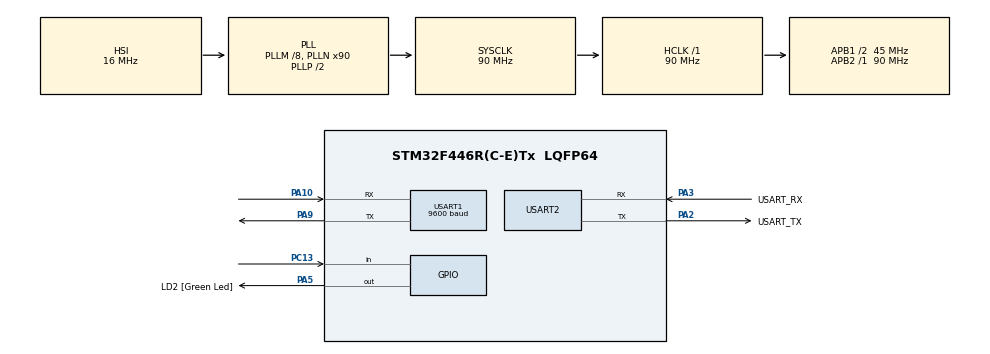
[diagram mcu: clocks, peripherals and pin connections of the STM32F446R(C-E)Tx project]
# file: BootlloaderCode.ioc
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Mcu.Family=STM32F4
Mcu.Name=STM32F446R(C-E)Tx
Mcu.Package=LQFP64
NVIC.PriorityGroup=NVIC_PRIORITYGROUP_0
NVIC.USART1_IRQn=true\:0\:0\:false\:false\:true\:true\:true
NVIC.USART2_IRQn=true\:0\:0\:false\:false\:true\:true\:true
PA10.Mode=Asynchronous
PA10.Signal=USART1_RX
PA13.GPIO_Label=TMS
PA13.Signal=SYS_JTMS-SWDIO
PA14.GPIO_Label=TCK
PA14.Signal=SYS_JTCK-SWCLK
PA2.GPIO_Label=USART_TX
PA2.Mode=Asynchronous
PA2.Signal=USART2_TX
PA3.GPIO_Label=USART_RX
PA3.Mode=Asynchronous
PA3.Signal=USART2_RX
PA5.GPIO_Label=LD2 [Green Led]
PA5.Signal=GPIO_Output
PA9.Mode=Asynchronous
PA9.Signal=USART1_TX
PB3.GPIO_Label=SWO
PB3.Signal=SYS_JTDO-SWO
PC13.Signal=GPIO_Input
PC14-OSC32_IN.Signal=RCC_OSC32_IN
PC15-OSC32_OUT.Signal=RCC_OSC32_OUT
PH0-OSC_IN.Signal=RCC_OSC_IN
PH1-OSC_OUT.Signal=RCC_OSC_OUT
ProjectManager.HeapSize=0x200
ProjectManager.StackSize=0x400
ProjectManager.TargetToolchain=STM32CubeIDE
RCC.AHBFreq_Value=90000000
RCC.APB1CLKDivider=RCC_HCLK_DIV2
RCC.APB1Freq_Value=45000000
RCC.APB1TimFreq_Value=90000000
RCC.APB2Freq_Value=90000000
RCC.APB2TimFreq_Value=90000000
RCC.CortexFreq_Value=90000000
RCC.FLatency-AdvancedSettings=FLASH_LATENCY_2
RCC.HCLKFreq_Value=90000000
RCC.HSE_VALUE=8000000
RCC.HSI_VALUE=16000000
RCC.LSE_VALUE=32768
RCC.PLLM=8
RCC.PLLN=90
RCC.SYSCLKFreq_VALUE=90000000
RCC.SYSCLKSource=RCC_SYSCLKSOURCE_PLLCLK
RCC.USBFreq_Value=90000000
RCC.VCOOutputFreq_Value=180000000
USART1.BaudRate=9600
USART1.VirtualMode=VM_ASYNC
USART2.VirtualMode=VM_ASYNC
board=NUCLEO-F446RE

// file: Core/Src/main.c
/* USER CODE BEGIN 2 */
#include "main.h"

#include <stdio.h>

#define VERSION    "V_1.0"
#define PRESSED    0
#define NOTPRESSED 1

UART_HandleTypeDef      huart1;
UART_HandleTypeDef      huart2;

#define PC_UART         huart2
#define BLUETOOTH_UART  huart1

void SystemClock_Config(void);
static void MX_GPIO_Init(void);
static void MX_USART1_UART_Init(void);
static void MX_USART2_UART_Init(void);

static void GoToAPP( void );

int main(void)
{
  //Initialization
  HAL_Init();
  SystemClock_Config();
  MX_GPIO_Init();
  MX_USART1_UART_Init();
  MX_USART2_UART_Init();

  printf("Starting BootLoader %s\r\n",VERSION);
  //Turn ON LED to indicate that you are in the BootLoader mode
  HAL_GPIO_WritePin(LD2_GPIO_Port,LD2_Pin, GPIO_PIN_SET );

  printf("Press The BootLoader Button to Trigger OTA Update...\r\n");
  GPIO_PinState OTAButtonState;
  uint32_t CurrentTick = HAL_GetTick();
  uint32_t EndTick     = HAL_GetTick() + 3000;   // from now to 3 Seconds

  /* Check the button if  pressed or not for 3seconds */
  while(CurrentTick < EndTick)
  {
	OTAButtonState=HAL_GPIO_ReadPin( GPIOC, GPIO_PIN_13 );
    if(OTAButtonState== PRESSED )
    {
      break;
    }
    CurrentTick = HAL_GetTick();
  }

  /*Start the Firmware or Application update */
  if(OTAButtonState== PRESSED )
  {
    printf("Starting Firmware Download...\r\n");
    // OTA Request. Receive the data from the UART1 and flash it
    if( OTA_ReceiveAndFlashTheCode () != OTA_ERROR_OK )
    {
      printf("OTA Update : ERROR!!! HALT!!!\r\n");
      while( 1 );
    }
    else
    {
      /* Reset to load the new application */
      printf("Firmware Update Done Rebooting...\r\n");
      HAL_NVIC_SystemReset();
    }
  }

  GoToAPP();

  while (1)
  {

  }

}

//Consider it as an implementation for printf() to use UART
int __io_putchar(int ch)
{
  /* e.g. write a character to the PC_UART and Loop until the end of transmission */
  HAL_UART_Transmit(&PC_UART, (uint8_t *)&ch, 1, HAL_MAX_DELAY);
  return ch;
}

void SystemClock_Config(void)
{
  RCC_OscInitTypeDef RCC_OscInitStruct = {0};
  RCC_ClkInitTypeDef RCC_ClkInitStruct = {0};

  /** Configure the main internal regulator output voltage
  */
  __HAL_RCC_PWR_CLK_ENABLE();
  __HAL_PWR_VOLTAGESCALING_CONFIG(PWR_REGULATOR_VOLTAGE_SCALE3);
  /** Initializes the RCC Oscillators according to the specified parameters
  * in the RCC_OscInitTypeDef structure.
  */
  RCC_OscInitStruct.OscillatorType = RCC_OSCILLATORTYPE_HSI;
  RCC_OscInitStruct.HSIState = RCC_HSI_ON;
  RCC_OscInitStruct.HSICalibrationValue = RCC_HSICALIBRATION_DEFAULT;
  RCC_OscInitStruct.PLL.PLLState = RCC_PLL_ON;
  RCC_OscInitStruct.PLL.PLLSource = RCC_PLLSOURCE_HSI;
  RCC_OscInitStruct.PLL.PLLM = 8;
  RCC_OscInitStruct.PLL.PLLN = 90;
  RCC_OscInitStruct.PLL.PLLP = RCC_PLLP_DIV2;
  RCC_OscInitStruct.PLL.PLLQ = 2;
  RCC_OscInitStruct.PLL.PLLR = 2;
  if (HAL_RCC_OscConfig(&RCC_OscInitStruct) != HAL_OK)
  {
    Error_Handler();
  }
  /** Initializes the CPU, AHB and APB buses clocks
  */
  RCC_ClkInitStruct.ClockType = RCC_CLOCKTYPE_HCLK|RCC_CLOCKTYPE_SYSCLK
                              |RCC_CLOCKTYPE_PCLK1|RCC_CLOCKTYPE_PCLK2;
  RCC_ClkInitStruct.SYSCLKSource = RCC_SYSCLKSOURCE_PLLCLK;
  RCC_ClkInitStruct.AHBCLKDivider = RCC_SYSCLK_DIV1;
  RCC_ClkInitStruct.APB1CLKDivider = RCC_HCLK_DIV2;
  RCC_ClkInitStruct.APB2CLKDivider = RCC_HCLK_DIV1;

  if (HAL_RCC_ClockConfig(&RCC_ClkInitStruct, FLASH_LATENCY_2) != HAL_OK)
  {
    Error_Handler();
  }
}

static void MX_USART1_UART_Init(void)
{

  huart1.Instance = USART1;
  huart1.Init.BaudRate = 9600;
  huart1.Init.WordLength = UART_WORDLENGTH_8B;
  huart1.Init.StopBits = UART_STOPBITS_1;
  huart1.Init.Parity = UART_PARITY_NONE;
  huart1.Init.Mode = UART_MODE_TX_RX;
  huart1.Init.HwFlowCtl = UART_HWCONTROL_NONE;
  huart1.Init.OverSampling = UART_OVERSAMPLING_16;
  if (HAL_UART_Init(&huart1) != HAL_OK)
  {
    Error_Handler();
  }
}

static void MX_USART2_UART_Init(void)
{

  huart2.Instance = USART2;
  huart2.Init.BaudRate = 115200;
  huart2.Init.WordLength = UART_WORDLENGTH_8B;
  huart2.Init.StopBits = UART_STOPBITS_1;
  huart2.Init.Parity = UART_PARITY_NONE;
  huart2.Init.Mode = UART_MODE_TX_RX;
  huart2.Init.HwFlowCtl = UART_HWCONTROL_NONE;
  huart2.Init.OverSampling = UART_OVERSAMPLING_16;
  if (HAL_UART_Init(&huart2) != HAL_OK)
  {
    Error_Handler();
  }

}

static void MX_GPIO_Init(void)
{
  GPIO_InitTypeDef GPIO_InitStruct = {0};

  /* GPIO Ports Clock Enable */
  __HAL_RCC_GPIOC_CLK_ENABLE();
  __HAL_RCC_GPIOH_CLK_ENABLE();
  __HAL_RCC_GPIOA_CLK_ENABLE();
  __HAL_RCC_GPIOB_CLK_ENABLE();

  /*Configure GPIO pin Output Level */
  HAL_GPIO_WritePin(LD2_GPIO_Port, LD2_Pin, GPIO_PIN_RESET);

  /*Configure GPIO pin : PC13 */
  GPIO_InitStruct.Pin = GPIO_PIN_13;
  GPIO_InitStruct.Mode = GPIO_MODE_INPUT;
  GPIO_InitStruct.Pull = GPIO_NOPULL;
  HAL_GPIO_Init(GPIOC, &GPIO_InitStruct);

  /*Configure GPIO pin : LD2_Pin */
  GPIO_InitStruct.Pin = LD2_Pin;
  GPIO_InitStruct.Mode = GPIO_MODE_OUTPUT_PP;
  GPIO_InitStruct.Pull = GPIO_NOPULL;
  GPIO_InitStruct.Speed = GPIO_SPEED_FREQ_LOW;
  HAL_GPIO_Init(LD2_GPIO_Port, &GPIO_InitStruct);

}

static void GoToAPP(void)
{
  printf("Jump to Application\r\n");
  // Turn OFF the LED since Bootloader is not running
  HAL_GPIO_WritePin(LD2_GPIO_Port,LD2_Pin, GPIO_PIN_RESET );

  //pointer to the Reset Handler of the Application
  void (*APP_ResetHandler)(void) = (void*)(*((volatile uint32_t*) (OTA_APP_ADDRESS + 4U)));
  APP_ResetHandler();
}

void Error_Handler(void)
{
  __disable_irq();
  while (1)
  {
  }

}

/* USER CODE END 2 */
